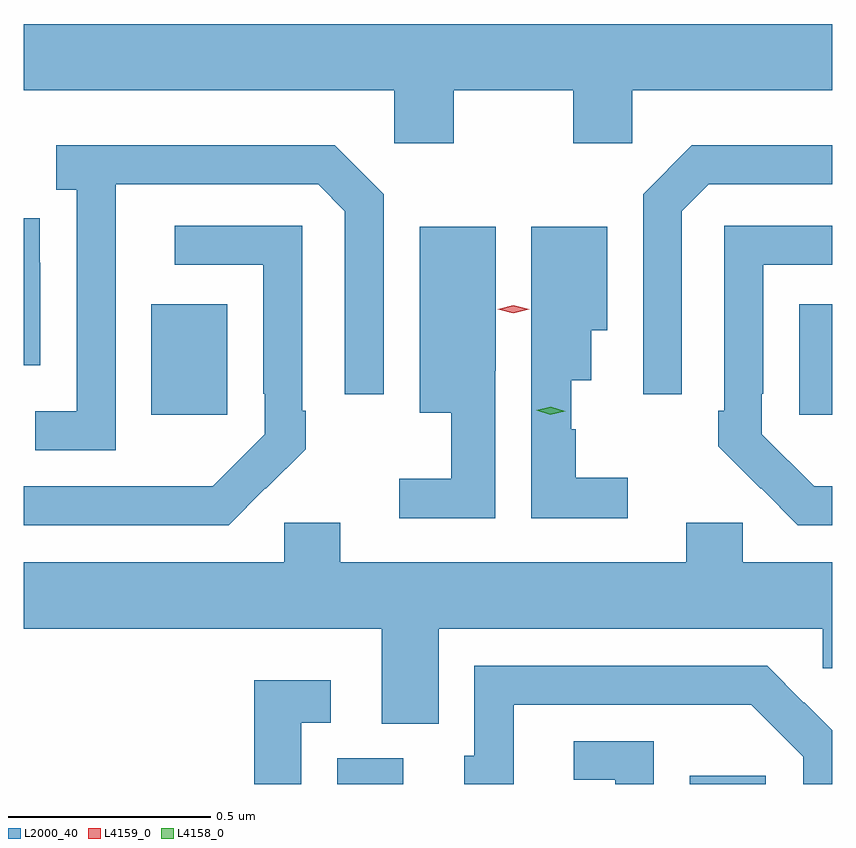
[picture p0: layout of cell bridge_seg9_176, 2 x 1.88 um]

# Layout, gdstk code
import gdstk
lib = gdstk.Library(unit=1e-6, precision=1e-09)
def R(c, l, rs):  # rectangles x0, y0, x1, y1
    for r in rs: c.add(gdstk.rectangle(r[:2], r[2:], *l))
def P(c, l, *ps):  # polygons
    for p in ps: c.add(gdstk.Polygon(p, *l))
L2000_40 = (2000, 40)
L4158_0 = (4158, 0)
L4159_0 = (4159, 0)

bridge_seg9_176 = lib.new_cell('bridge_seg9_176')
R(bridge_seg9_176, L2000_40, [(159.992,1242.656,160.156,1242.72), (160.865,1242.656,161.053,1242.676), (159.533,1243.569,159.721,1243.843), (161.135,1243.569,161.217,1243.843)])
P(bridge_seg9_176, L2000_40, [(160.281,1244.372),(160.576,1244.372),(160.576,1244.241),(160.722,1244.241),(160.722,1244.372),(161.217,1244.372),(161.217,1244.536),(159.217,1244.536),(159.217,1244.372),(160.134,1244.372),(160.134,1244.241),(160.281,1244.241)],
  [(159.444,1243.939),(159.445,1243.939),(159.445,1244.139),(159.945,1244.139),(160.011,1244.073),(160.011,1243.62),(160.107,1243.62),(160.107,1244.115),(159.986,1244.236),(159.297,1244.236),(159.297,1244.126),(159.348,1244.126),(159.348,1243.578),(159.246,1243.578),(159.246,1243.482),(159.444,1243.482)],
  [(160.845,1244.073),(160.911,1244.139),(161.217,1244.139),(161.217,1244.236),(160.87,1244.236),(160.749,1244.115),(160.749,1243.62),(160.845,1243.62)],
  [(159.258,1243.946),(159.257,1243.946),(159.257,1244.055),(159.217,1244.055),(159.217,1243.692),(159.258,1243.692)],
  [(159.815,1243.387),(159.816,1243.386),(159.914,1243.484),(159.914,1243.579),(159.906,1243.579),(159.906,1244.037),(159.591,1244.037),(159.591,1243.941),(159.81,1243.941),(159.81,1243.621),(159.813,1243.621),(159.813,1243.521),(159.685,1243.393),(159.581,1243.393),(159.581,1243.392),(159.217,1243.392),(159.217,1243.296),(159.724,1243.296)],
  [(161.217,1243.393),(161.172,1243.393),(161.043,1243.521),(161.043,1243.621),(161.046,1243.621),(161.046,1243.941),(161.217,1243.941),(161.217,1244.037),(160.95,1244.037),(160.95,1243.579),(160.935,1243.579),(160.935,1243.491),(161.04,1243.386),(161.041,1243.387),(161.132,1243.296),(161.217,1243.296)],
  [(160.711,1243.413),(160.582,1243.413),(160.582,1243.533),(160.571,1243.533),(160.571,1243.655),(160.621,1243.655),(160.621,1243.778),(160.66,1243.778),(160.66,1244.035),(160.472,1244.035),(160.472,1243.782),(160.473,1243.782),(160.473,1243.314),(160.711,1243.314)],
  [(160.383,1243.678),(160.384,1243.678),(160.384,1244.035),(160.196,1244.035),(160.196,1243.574),(160.275,1243.574),(160.275,1243.411),(160.146,1243.411),(160.146,1243.314),(160.383,1243.314)],
  [(160.243,1243.04),(161.193,1243.04),(161.193,1242.942),(161.217,1242.942),(161.217,1243.204),(160.995,1243.204),(160.995,1243.302),(160.856,1243.302),(160.856,1243.204),(160,1243.204),(160,1243.302),(159.861,1243.302),(159.861,1243.204),(159.217,1243.204),(159.217,1243.04),(160.103,1243.04),(160.103,1242.805),(160.243,1242.805)],
  [(160.429,1242.852),(161.017,1242.852),(161.145,1242.723),(161.145,1242.656),(161.217,1242.656),(161.217,1242.789),(161.148,1242.858),(161.147,1242.857),(161.056,1242.948),(160.332,1242.948),(160.332,1242.726),(160.307,1242.726),(160.307,1242.656),(160.429,1242.656)],
  [(159.903,1242.807),(159.976,1242.807),(159.976,1242.913),(159.787,1242.913),(159.787,1242.656),(159.903,1242.656)],
  [(160.776,1242.762),(160.578,1242.762),(160.578,1242.666),(160.68,1242.666),(160.68,1242.656),(160.776,1242.656)])
P(bridge_seg9_176, L4158_0, [(160.52,1243.569),(160.485,1243.58),(160.484,1243.581),(160.485,1243.581),(160.521,1243.589),(160.556,1243.578),(160.556,1243.578),(160.556,1243.578)])
P(bridge_seg9_176, L4159_0, [(160.428,1243.82),(160.389,1243.83),(160.389,1243.83),(160.389,1243.83),(160.428,1243.84),(160.467,1243.83),(160.468,1243.83),(160.467,1243.83)])

lib.write_gds('bridge_seg9_176.gds')
